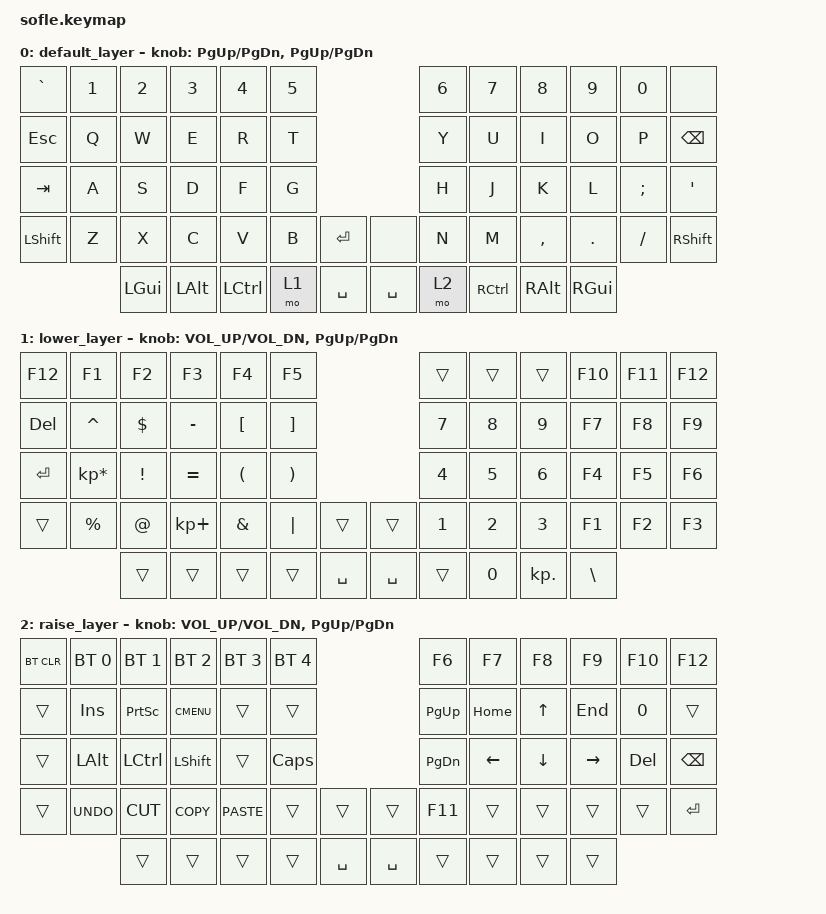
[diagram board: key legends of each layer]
/*
 * Copyright (c) 2020 The ZMK Contributors
 *
 * SPDX-License-Identifier: MIT
 */

#include <behaviors.dtsi>
#include <dt-bindings/zmk/keys.h>
#include <dt-bindings/zmk/bt.h>

/ {
    keymap {
        compatible = "zmk,keymap";

        default_layer {
// ------------------------------------------------------------------------------------------------------------
// |  `    |  1  |  2  |  3   |  4   |  5   |                   |  6   |  7    |  8    |  9   |   0   |       |
// |  ESC  |  Q  |  W  |  E   |  R   |  T   |                   |  Y   |  U    |  I    |  O   |   P   | BKSPC |
// |  TAB  |  A  |  S  |  D   |  F   |  G   |                   |  H   |  J    |  K    |  L   |   ;   |   '   |
// | SHIFT |  Z  |  X  |  C   |  V   |  B   |  ENTER |  |       |  N   |  M    |  ,    |  .   |   /   | SHIFT |
//               | GUI | ALT  | CTRL | LOWER|  SPACE |  | SPACE | RAISE| CTRL  | ALT   | GUI  |
            bindings = <
&kp GRAVE &kp N1 &kp N2   &kp N3   &kp N4    &kp N5                         &kp N6 &kp N7    &kp N8    &kp N9   &kp N0   &none
&kp ESC   &kp Q  &kp W    &kp E    &kp R     &kp T                          &kp Y  &kp U     &kp I     &kp O    &kp P    &kp BSPC
&kp TAB   &kp A  &kp S    &kp D    &kp F     &kp G                          &kp H  &kp J     &kp K     &kp L    &kp SEMI &kp SQT
&kp LSHFT &kp Z  &kp X    &kp C    &kp V     &kp B   &kp RET    &none       &kp N  &kp M     &kp COMMA &kp DOT  &kp FSLH &kp RSHFT
                 &kp LGUI &kp LALT &kp LCTRL &mo 1   &kp SPACE  &kp SPACE   &mo 2  &kp RCTRL &kp RALT  &kp RGUI
            >;

            sensor-bindings = <&inc_dec_kp PG_UP PG_DN &inc_dec_kp PG_UP PG_DN>;
        };
        
        lower_layer {
// TODO: Some binds are waiting for shifted keycode support.
// ------------------------------------------------------------------------------------------------------------
// |  F12  |  F1  |  F2  |  F3  |  F4  |  F5  |                   |      |       |       |  F10 |  F11 |  F12 |
// |  DEL  |   ^  |   $  |  -   |  [   |   ]  |                   |   7  |   8   |   9   |  F7  |  F8  |  F9  |
// | ENTER |   *  |   !  |  =   |  (   |   )  |                   |   4  |   5   |   6   |  F4  |  F5  |  F6  |
// |       |   %  |   @  |  +   |  &   |   |  |        |  |       |   1  |   2   |   3   |  F1  |  F2  |  F3  |
//                |      |      |      |      | SPACE  |  | SPACE |      |   0   |   .   |   \  |
            bindings = <
&kp F12  &kp F1           &kp F2    &kp F3       &kp F4    &kp F5                          &trans   &trans    &trans      &kp F10   &kp F11   &kp F12
&kp DEL  &kp CARET        &kp DLLR  &kp MINUS    &kp LBKT  &kp RBKT                        &kp N7   &kp N8    &kp N9      &kp F7    &kp F8    &kp F9
&kp RET  &kp KP_MULTIPLY  &kp EXCL  &kp EQUAL    &kp LPAR  &kp RPAR                        &kp N4   &kp N5    &kp N6      &kp F4    &kp F5    &kp F6
&trans   &kp PRCNT        &kp AT    &kp KP_PLUS  &kp AMPS  &kp PIPE  &trans     &trans     &kp N1   &kp N2    &kp N3      &kp F1    &kp F2    &kp F3
                          &trans    &trans       &trans    &trans    &kp SPACE  &kp SPACE  &trans   &kp N0    &kp KP_DOT  &kp BSLH
            >;

            sensor-bindings = <&inc_dec_kp C_VOL_UP C_VOL_DN &inc_dec_kp PG_UP PG_DN>;
        };

        raise_layer {
// ------------------------------------------------------------------------------------------------------------
// |BTCLR| BT1  | BT2  |  BT3  |  BT4  |  BT5 |                  |  F6  |  F7  |  F8   |  F9  |  F10   |  F12   |
// |     | INS  | PSCR | GUI   |       |      |                  | PGUP | HOME |   ^   | END  |        |        |
// |     | ALT  | CTRL | SHIFT |       | CAPS |                  | PGDN |   <- |   v   |  ->  |  DEL   | BKSPC  |
// |     | UNDO | CUT  | COPY  | PASTE |      |       |  |       |  F11 |      |       |      |        | ENTER  |
//              |      |       |       |      | SPACE |  | SPACE |      |      |       |      |
            bindings = <
&bt BT_CLR &bt BT_SEL 0 &bt BT_SEL 1 &bt BT_SEL 2 &bt BT_SEL 3 &bt BT_SEL 4                        &kp F6    &kp F7    &kp F8   &kp F9    &kp F10  &kp F12
&trans     &kp INS      &kp PSCRN    &kp K_CMENU  &trans       &trans                              &kp PG_UP &kp HOME  &kp UP   &kp END   &kp N0   &trans
&trans     &kp LALT     &kp LCTRL    &kp LSHFT    &trans       &kp CLCK                            &kp PG_DN &kp LEFT  &kp DOWN &kp RIGHT &kp DEL  &kp BSPC
&trans     &kp K_UNDO   &kp K_CUT    &kp K_COPY   &kp K_PASTE  &trans        &trans     &trans     &kp F11   &trans    &trans   &trans    &trans   &kp RET
                        &trans       &trans       &trans       &trans        &kp SPACE  &kp SPACE  &trans    &trans    &trans   &trans
            >;

            sensor-bindings = <&inc_dec_kp C_VOL_UP C_VOL_DN &inc_dec_kp PG_UP PG_DN>;
        };
    };
};
